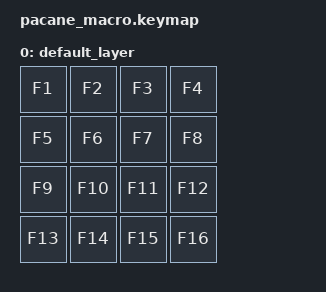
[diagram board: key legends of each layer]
#include <behaviors.dtsi>
#include <dt-bindings/zmk/keys.h>
#include <dt-bindings/zmk/outputs.h>
#include <dt-bindings/zmk/bt.h>
#include "zmk-helpers/helper.h"

#define DEFAULT 0
#define BT_LAYER 1

/ {
    keymap {
        compatible = "zmk,keymap";

        default_layer {
            bindings = <
                &kp  F1     &kp  F2     &kp  F3     &kp F4
                &kp  F5     &kp  F6     &kp  F7     &kp F8
                &kp  F9     &kp  F10    &kp  F11    &kp F12
                &kp  F13    &kp  F14    &kp  F15    &kp F16
            >;
        };
    };
 };
